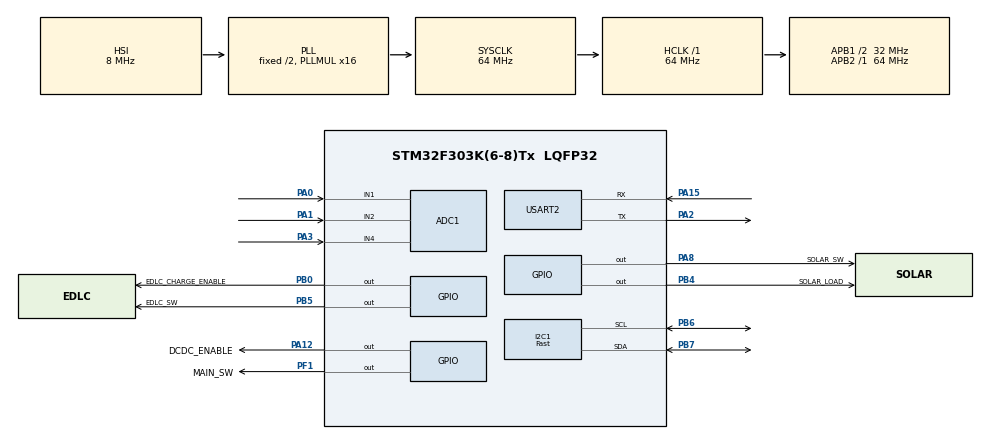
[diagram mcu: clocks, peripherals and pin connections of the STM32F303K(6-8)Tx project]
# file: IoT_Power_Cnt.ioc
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ADC1.Channel-0\#ChannelRegularConversion=ADC_CHANNEL_1
ADC1.Channel-1\#ChannelRegularConversion=ADC_CHANNEL_2
ADC1.Channel-2\#ChannelRegularConversion=ADC_CHANNEL_4
ADC1.ClockPrescaler=ADC_CLOCK_ASYNC_DIV1
ADC1.ContinuousConvMode=ENABLE
ADC1.DMAContinuousRequests=ENABLE
ADC1.EnableInjectedConversion=DISABLE
ADC1.NbrOfConversion=3
ADC1.NbrOfConversionFlag=1
ADC1.Offset-0\#ChannelRegularConversion=0
ADC1.Offset-1\#ChannelRegularConversion=0
ADC1.Offset-2\#ChannelRegularConversion=0
ADC1.OffsetNumber-0\#ChannelRegularConversion=ADC_OFFSET_NONE
ADC1.OffsetNumber-1\#ChannelRegularConversion=ADC_OFFSET_NONE
ADC1.OffsetNumber-2\#ChannelRegularConversion=ADC_OFFSET_NONE
ADC1.Rank-0\#ChannelRegularConversion=1
ADC1.Rank-1\#ChannelRegularConversion=2
ADC1.Rank-2\#ChannelRegularConversion=3
ADC1.SamplingTime-0\#ChannelRegularConversion=ADC_SAMPLETIME_601CYCLES_5
ADC1.SamplingTime-1\#ChannelRegularConversion=ADC_SAMPLETIME_601CYCLES_5
ADC1.SamplingTime-2\#ChannelRegularConversion=ADC_SAMPLETIME_601CYCLES_5
ADC1.SamplingTimeOPAMP-1\#ChannelRegularConversion=ADC_SAMPLETIME_61CYCLES_5
ADC1.SamplingTimeOPAMP-2\#ChannelRegularConversion=ADC_SAMPLETIME_61CYCLES_5
ADC1.SubFamily=STM32F303x8
ADC1.master=1
Dma.ADC1.0.Direction=DMA_PERIPH_TO_MEMORY
Dma.ADC1.0.Instance=DMA1_Channel1
Dma.ADC1.0.MemDataAlignment=DMA_MDATAALIGN_HALFWORD
Dma.ADC1.0.MemInc=DMA_MINC_ENABLE
Dma.ADC1.0.Mode=DMA_CIRCULAR
Dma.ADC1.0.PeriphDataAlignment=DMA_PDATAALIGN_HALFWORD
Dma.ADC1.0.PeriphInc=DMA_PINC_DISABLE
Dma.ADC1.0.Priority=DMA_PRIORITY_LOW
Dma.Request0=ADC1
I2C1.I2C_Speed_Mode=I2C_Fast
I2C1.Timing=0x00602173
Mcu.Family=STM32F3
Mcu.Name=STM32F303K(6-8)Tx
Mcu.Package=LQFP32
NVIC.DMA1_Channel1_IRQn=true\:0\:0\:false\:false\:true\:false\:true\:true
NVIC.PriorityGroup=NVIC_PRIORITYGROUP_4
NVIC.USART2_IRQn=true\:0\:0\:false\:false\:true\:true\:true\:true
PA0.Mode=IN1-Single-Ended
PA0.Signal=ADC1_IN1
PA1.Mode=IN2-Single-Ended
PA1.Signal=ADC1_IN2
PA12.GPIO_Label=DCDC_ENABLE
PA12.Signal=GPIO_Output
PA13.GPIO_Label=SWDIO
PA13.Mode=Serial_Wire
PA13.Signal=SYS_JTMS-SWDIO
PA14.GPIO_Label=SWCLK
PA14.Mode=Serial_Wire
PA14.Signal=SYS_JTCK-SWCLK
PA15.GPIO_ModeDefaultPP=GPIO_MODE_AF_PP
PA15.GPIO_PuPd=GPIO_NOPULL
PA15.GPIO_Speed=GPIO_SPEED_FREQ_HIGH
PA15.Mode=Asynchronous
PA15.Signal=USART2_RX
PA2.GPIO_ModeDefaultPP=GPIO_MODE_AF_PP
PA2.GPIO_PuPd=GPIO_NOPULL
PA2.GPIO_Speed=GPIO_SPEED_FREQ_HIGH
PA2.Mode=Asynchronous
PA2.Signal=USART2_TX
PA3.Mode=IN4-Single-Ended
PA3.Signal=ADC1_IN4
PA8.GPIO_Label=SOLAR_SW
PA8.Signal=GPIO_Output
PB0.GPIO_Label=EDLC_CHARGE_ENABLE
PB0.Signal=GPIO_Output
PB4.GPIO_Label=SOLAR_LOAD
PB4.Signal=GPIO_Output
PB5.GPIO_Label=EDLC_SW
PB5.Signal=GPIO_Output
PB6.GPIO_Pu=GPIO_PULLUP
PB6.Mode=I2C
PB6.Signal=I2C1_SCL
PB7.GPIO_Pu=GPIO_PULLUP
PB7.Mode=I2C
PB7.Signal=I2C1_SDA
PF0\ /\ OSC_IN.GPIO_Label=MCO
PF0\ /\ OSC_IN.Mode=HSE-External-Clock-Source
PF0\ /\ OSC_IN.Signal=RCC_OSC_IN
PF1\ /\ OSC_OUT.GPIO_Label=MAIN_SW
PF1\ /\ OSC_OUT.Signal=GPIO_Output
ProjectManager.HeapSize=0x200
ProjectManager.StackSize=0x400
ProjectManager.TargetToolchain=STM32CubeIDE
RCC.AHBFreq_Value=64000000
RCC.APB1CLKDivider=RCC_HCLK_DIV2
RCC.APB1Freq_Value=32000000
RCC.APB1TimFreq_Value=64000000
RCC.APB2Freq_Value=64000000
RCC.APB2TimFreq_Value=64000000
RCC.CortexFreq_Value=64000000
RCC.HCLKFreq_Value=64000000
RCC.HSE_VALUE=8000000
RCC.HSI_VALUE=8000000
RCC.I2c1ClockSelection=RCC_I2C1CLKSOURCE_SYSCLK
RCC.PLLMUL=RCC_PLL_MUL16
RCC.SYSCLKFreq_VALUE=64000000
RCC.SYSCLKSourceVirtual=RCC_SYSCLKSOURCE_PLLCLK
RTC.AsynchPrediv=40-1
RTC.Date=4
RTC.Hours=10
RTC.Month=RTC_MONTH_NOVEMBER
RTC.SynchPrediv=1000-1
RTC.WeekDay=RTC_WEEKDAY_SATURDAY
RTC.Year=23
USART2.VirtualMode-Asynchronous=VM_ASYNC
VP_RTC_VS_RTC_Activate.Mode=RTC_Enabled
VP_RTC_VS_RTC_Calendar.Mode=RTC_Calendar
board=NUCLEO-F303K8

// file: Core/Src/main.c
/* USER CODE BEGIN Header */
/**
  ******************************************************************************
  * @file           : main.c
  * @brief          : Main program body
  ******************************************************************************
  * @attention
  *
  * Copyright (c) 2023 STMicroelectronics.
  * All rights reserved.
  *
  * This software is licensed under terms that can be found in the LICENSE file
  * in the root directory of this software component.
  * If no LICENSE file comes with this software, it is provided AS-IS.
  *
  ******************************************************************************
  */
/* USER CODE END Header */
#include "main.h"

ADC_HandleTypeDef hadc1;
DMA_HandleTypeDef hdma_adc1;

I2C_HandleTypeDef hi2c1;

RTC_HandleTypeDef hrtc;

UART_HandleTypeDef huart2;

void SystemClock_Config(void);
static void MX_GPIO_Init(void);
static void MX_DMA_Init(void);
static void MX_ADC1_Init(void);
static void MX_I2C1_Init(void);
static void MX_USART2_UART_Init(void);
static void MX_RTC_Init(void);
/* USER CODE BEGIN PFP */
void app_oled_view_init(void);

/* USER CODE END PFP */

/* USER CODE BEGIN 0 */
uint16_t dacData;
/* USER CODE END 0 */

int main(void)
{
  /* USER CODE BEGIN 1 */
	float buf;
	float adc_main,adc_edlc,adc_solar;
	uint8_t edlc;
  /* USER CODE END 1 */

  /* MCU Configuration--------------------------------------------------------*/

  /* Reset of all peripherals, Initializes the Flash interface and the Systick. */
  HAL_Init();

  /* Configure the system clock */
  SystemClock_Config();

  /* Initialize all configured peripherals */
  MX_GPIO_Init();
  MX_DMA_Init();
  MX_ADC1_Init();
  MX_I2C1_Init();
  MX_USART2_UART_Init();
  MX_RTC_Init();
  /* USER CODE BEGIN 2 */
  app_oled_view_init();
  drv_cmd_if_set_Uart(&huart2);
///  HAL_DAC_Start(&hdac1,DAC_CHANNEL_1);
//  HAL_DAC_SetValue(&hdac1,DAC_CHANNEL_1,DAC_ALIGN_12B_L,dacData);
  dacData = 0x03FF;
  /* USER CODE END 2 */

  /* Infinite loop */
  /* USER CODE BEGIN WHILE */
  while (1)
  {
	  adc_edlc = drv_Power_get_solarVolt();
	  edlc = (uint8_t)((((adc_edlc - 1.0) + 0.1) / 1.7) * 100.0);
	  drv_oled_ssd1306_set_edlc_param(adc_edlc);
	  drv_oled_ssd1306_set_batt_param(edlc);
	  if(adc_edlc > 2.0)
	  {
		  drv_Power_set_edlc_dcdc(ENABLE);
	  }
	  else if(adc_edlc < 1.0)
	  {
		  drv_Power_set_edlc_dcdc(DISABLE);
	  }
	  adc_solar = drv_Power_get_solarVolt();
	  drv_oled_ssd1306_set_solar_param(adc_solar);
	  if(adc_solar > 1.6)
	  {
		  // EDLC Charge Start
		  HAL_GPIO_WritePin(EDLC_SW_GPIO_Port, EDLC_SW_Pin, GPIO_PIN_SET);
	  }
	  else
	  {
		  // EDLC Charge Stop
		  HAL_GPIO_WritePin(EDLC_SW_GPIO_Port, EDLC_SW_Pin, GPIO_PIN_RESET);
	  }

	  if(buf > 4.0)
	  {
		  // ソーラーからの給電開
	//	  HAL_GPIO_WritePin(SOLAR_SW_GPIO_Port,SOLAR_SW_Pin,GPIO_PIN_SET);
	  }
	  else
	  {
		  // ソーラーからの給電停止
	//	  HAL_GPIO_WritePin(SOLAR_SW_GPIO_Port,SOLAR_SW_Pin,GPIO_PIN_RESET);
	  }
	  adc_main = drv_Power_get_mainVolt();
	  drv_oled_ssd1306_set_main_param(adc_main);
//	  HAL_DAC_SetValue(&hdac1,DAC_CHANNEL_1,DAC_ALIGN_12B_R,dacData);
	  HAL_Delay(1000);

    /* USER CODE END WHILE */

  }
}

void SystemClock_Config(void)
{
  RCC_OscInitTypeDef RCC_OscInitStruct = {0};
  RCC_ClkInitTypeDef RCC_ClkInitStruct = {0};
  RCC_PeriphCLKInitTypeDef PeriphClkInit = {0};

  /** Initializes the RCC Oscillators according to the specified parameters
  * in the RCC_OscInitTypeDef structure.
  */
  RCC_OscInitStruct.OscillatorType = RCC_OSCILLATORTYPE_HSI|RCC_OSCILLATORTYPE_LSI;
  RCC_OscInitStruct.HSIState = RCC_HSI_ON;
  RCC_OscInitStruct.HSICalibrationValue = RCC_HSICALIBRATION_DEFAULT;
  RCC_OscInitStruct.LSIState = RCC_LSI_ON;
  RCC_OscInitStruct.PLL.PLLState = RCC_PLL_ON;
  RCC_OscInitStruct.PLL.PLLSource = RCC_PLLSOURCE_HSI;
  RCC_OscInitStruct.PLL.PLLMUL = RCC_PLL_MUL16;
  if (HAL_RCC_OscConfig(&RCC_OscInitStruct) != HAL_OK)
  {
    Error_Handler();
  }

  /** Initializes the CPU, AHB and APB buses clocks
  */
  RCC_ClkInitStruct.ClockType = RCC_CLOCKTYPE_HCLK|RCC_CLOCKTYPE_SYSCLK
                              |RCC_CLOCKTYPE_PCLK1|RCC_CLOCKTYPE_PCLK2;
  RCC_ClkInitStruct.SYSCLKSource = RCC_SYSCLKSOURCE_PLLCLK;
  RCC_ClkInitStruct.AHBCLKDivider = RCC_SYSCLK_DIV1;
  RCC_ClkInitStruct.APB1CLKDivider = RCC_HCLK_DIV2;
  RCC_ClkInitStruct.APB2CLKDivider = RCC_HCLK_DIV1;

  if (HAL_RCC_ClockConfig(&RCC_ClkInitStruct, FLASH_LATENCY_2) != HAL_OK)
  {
    Error_Handler();
  }
  PeriphClkInit.PeriphClockSelection = RCC_PERIPHCLK_I2C1|RCC_PERIPHCLK_RTC
                              |RCC_PERIPHCLK_ADC12;
  PeriphClkInit.Adc12ClockSelection = RCC_ADC12PLLCLK_DIV1;
  PeriphClkInit.I2c1ClockSelection = RCC_I2C1CLKSOURCE_SYSCLK;
  PeriphClkInit.RTCClockSelection = RCC_RTCCLKSOURCE_LSI;
  if (HAL_RCCEx_PeriphCLKConfig(&PeriphClkInit) != HAL_OK)
  {
    Error_Handler();
  }
}

static void MX_ADC1_Init(void)
{

  ADC_MultiModeTypeDef multimode = {0};
  ADC_ChannelConfTypeDef sConfig = {0};

  /** Common config
  */
  hadc1.Instance = ADC1;
  hadc1.Init.ClockPrescaler = ADC_CLOCK_ASYNC_DIV1;
  hadc1.Init.Resolution = ADC_RESOLUTION_12B;
  hadc1.Init.ScanConvMode = ADC_SCAN_ENABLE;
  hadc1.Init.ContinuousConvMode = ENABLE;
  hadc1.Init.DiscontinuousConvMode = DISABLE;
  hadc1.Init.ExternalTrigConvEdge = ADC_EXTERNALTRIGCONVEDGE_NONE;
  hadc1.Init.ExternalTrigConv = ADC_SOFTWARE_START;
  hadc1.Init.DataAlign = ADC_DATAALIGN_RIGHT;
  hadc1.Init.NbrOfConversion = 3;
  hadc1.Init.DMAContinuousRequests = ENABLE;
  hadc1.Init.EOCSelection = ADC_EOC_SINGLE_CONV;
  hadc1.Init.LowPowerAutoWait = DISABLE;
  hadc1.Init.Overrun = ADC_OVR_DATA_OVERWRITTEN;
  if (HAL_ADC_Init(&hadc1) != HAL_OK)
  {
    Error_Handler();
  }

  /** Configure the ADC multi-mode
  */
  multimode.Mode = ADC_MODE_INDEPENDENT;
  if (HAL_ADCEx_MultiModeConfigChannel(&hadc1, &multimode) != HAL_OK)
  {
    Error_Handler();
  }

  /** Configure Regular Channel
  */
  sConfig.Channel = ADC_CHANNEL_1;
  sConfig.Rank = ADC_REGULAR_RANK_1;
  sConfig.SingleDiff = ADC_SINGLE_ENDED;
  sConfig.SamplingTime = ADC_SAMPLETIME_601CYCLES_5;
  sConfig.OffsetNumber = ADC_OFFSET_NONE;
  sConfig.Offset = 0;
  if (HAL_ADC_ConfigChannel(&hadc1, &sConfig) != HAL_OK)
  {
    Error_Handler();
  }

  /** Configure Regular Channel
  */
  sConfig.Channel = ADC_CHANNEL_2;
  sConfig.Rank = ADC_REGULAR_RANK_2;
  if (HAL_ADC_ConfigChannel(&hadc1, &sConfig) != HAL_OK)
  {
    Error_Handler();
  }

  /** Configure Regular Channel
  */
  sConfig.Channel = ADC_CHANNEL_4;
  sConfig.Rank = ADC_REGULAR_RANK_3;
  if (HAL_ADC_ConfigChannel(&hadc1, &sConfig) != HAL_OK)
  {
    Error_Handler();
  }
  /* USER CODE BEGIN ADC1_Init 2 */
  HAL_ADCEx_Calibration_Start(&hadc1, ADC_SINGLE_ENDED );

  /* USER CODE END ADC1_Init 2 */

}

static void MX_I2C1_Init(void)
{

  hi2c1.Instance = I2C1;
  hi2c1.Init.Timing = 0x00602173;
  hi2c1.Init.OwnAddress1 = 0;
  hi2c1.Init.AddressingMode = I2C_ADDRESSINGMODE_7BIT;
  hi2c1.Init.DualAddressMode = I2C_DUALADDRESS_DISABLE;
  hi2c1.Init.OwnAddress2 = 0;
  hi2c1.Init.OwnAddress2Masks = I2C_OA2_NOMASK;
  hi2c1.Init.GeneralCallMode = I2C_GENERALCALL_DISABLE;
  hi2c1.Init.NoStretchMode = I2C_NOSTRETCH_DISABLE;
  if (HAL_I2C_Init(&hi2c1) != HAL_OK)
  {
    Error_Handler();
  }

  /** Configure Analogue filter
  */
  if (HAL_I2CEx_ConfigAnalogFilter(&hi2c1, I2C_ANALOGFILTER_ENABLE) != HAL_OK)
  {
    Error_Handler();
  }

  /** Configure Digital filter
  */
  if (HAL_I2CEx_ConfigDigitalFilter(&hi2c1, 0) != HAL_OK)
  {
    Error_Handler();
  }

}

static void MX_RTC_Init(void)
{

  RTC_TimeTypeDef sTime = {0};
  RTC_DateTypeDef sDate = {0};

  /** Initialize RTC Only
  */
  hrtc.Instance = RTC;
  hrtc.Init.HourFormat = RTC_HOURFORMAT_24;
  hrtc.Init.AsynchPrediv = 40-1;
  hrtc.Init.SynchPrediv = 1000-1;
  hrtc.Init.OutPut = RTC_OUTPUT_DISABLE;
  hrtc.Init.OutPutPolarity = RTC_OUTPUT_POLARITY_HIGH;
  hrtc.Init.OutPutType = RTC_OUTPUT_TYPE_OPENDRAIN;
  if (HAL_RTC_Init(&hrtc) != HAL_OK)
  {
    Error_Handler();
  }

  /** Initialize RTC and set the Time and Date
  */
  sTime.Hours = 0x10;
  sTime.Minutes = 0x0;
  sTime.Seconds = 0x0;
  sTime.DayLightSaving = RTC_DAYLIGHTSAVING_NONE;
  sTime.StoreOperation = RTC_STOREOPERATION_RESET;
  if (HAL_RTC_SetTime(&hrtc, &sTime, RTC_FORMAT_BCD) != HAL_OK)
  {
    Error_Handler();
  }
  sDate.WeekDay = RTC_WEEKDAY_SATURDAY;
  sDate.Month = RTC_MONTH_NOVEMBER;
  sDate.Date = 0x4;
  sDate.Year = 0x23;

  if (HAL_RTC_SetDate(&hrtc, &sDate, RTC_FORMAT_BCD) != HAL_OK)
  {
    Error_Handler();
  }

}

static void MX_USART2_UART_Init(void)
{

  huart2.Instance = USART2;
  huart2.Init.BaudRate = 38400;
  huart2.Init.WordLength = UART_WORDLENGTH_8B;
  huart2.Init.StopBits = UART_STOPBITS_1;
  huart2.Init.Parity = UART_PARITY_NONE;
  huart2.Init.Mode = UART_MODE_TX_RX;
  huart2.Init.HwFlowCtl = UART_HWCONTROL_NONE;
  huart2.Init.OverSampling = UART_OVERSAMPLING_16;
  huart2.Init.OneBitSampling = UART_ONE_BIT_SAMPLE_DISABLE;
  huart2.AdvancedInit.AdvFeatureInit = UART_ADVFEATURE_NO_INIT;
  if (HAL_UART_Init(&huart2) != HAL_OK)
  {
    Error_Handler();
  }

}

static void MX_DMA_Init(void)
{

  /* DMA controller clock enable */
  __HAL_RCC_DMA1_CLK_ENABLE();

  /* DMA interrupt init */
  /* DMA1_Channel1_IRQn interrupt configuration */
  HAL_NVIC_SetPriority(DMA1_Channel1_IRQn, 0, 0);
  HAL_NVIC_EnableIRQ(DMA1_Channel1_IRQn);

}

static void MX_GPIO_Init(void)
{
  GPIO_InitTypeDef GPIO_InitStruct = {0};

  /* GPIO Ports Clock Enable */
  __HAL_RCC_GPIOF_CLK_ENABLE();
  __HAL_RCC_GPIOA_CLK_ENABLE();
  __HAL_RCC_GPIOB_CLK_ENABLE();

  /*Configure GPIO pin Output Level */
  HAL_GPIO_WritePin(MAIN_SW_GPIO_Port, MAIN_SW_Pin, GPIO_PIN_RESET);

  /*Configure GPIO pin Output Level */
  HAL_GPIO_WritePin(GPIOB, EDLC_CHARGE_ENABLE_Pin|SOLAR_LOAD_Pin|EDLC_SW_Pin, GPIO_PIN_RESET);

  /*Configure GPIO pin Output Level */
  HAL_GPIO_WritePin(GPIOA, SOLAR_SW_Pin|DCDC_ENABLE_Pin, GPIO_PIN_RESET);

  /*Configure GPIO pin : MAIN_SW_Pin */
  GPIO_InitStruct.Pin = MAIN_SW_Pin;
  GPIO_InitStruct.Mode = GPIO_MODE_OUTPUT_PP;
  GPIO_InitStruct.Pull = GPIO_NOPULL;
  GPIO_InitStruct.Speed = GPIO_SPEED_FREQ_LOW;
  HAL_GPIO_Init(MAIN_SW_GPIO_Port, &GPIO_InitStruct);

  /*Configure GPIO pins : EDLC_CHARGE_ENABLE_Pin SOLAR_LOAD_Pin EDLC_SW_Pin */
  GPIO_InitStruct.Pin = EDLC_CHARGE_ENABLE_Pin|SOLAR_LOAD_Pin|EDLC_SW_Pin;
  GPIO_InitStruct.Mode = GPIO_MODE_OUTPUT_PP;
  GPIO_InitStruct.Pull = GPIO_NOPULL;
  GPIO_InitStruct.Speed = GPIO_SPEED_FREQ_LOW;
  HAL_GPIO_Init(GPIOB, &GPIO_InitStruct);

  /*Configure GPIO pins : SOLAR_SW_Pin DCDC_ENABLE_Pin */
  GPIO_InitStruct.Pin = SOLAR_SW_Pin|DCDC_ENABLE_Pin;
  GPIO_InitStruct.Mode = GPIO_MODE_OUTPUT_PP;
  GPIO_InitStruct.Pull = GPIO_NOPULL;
  GPIO_InitStruct.Speed = GPIO_SPEED_FREQ_LOW;
  HAL_GPIO_Init(GPIOA, &GPIO_InitStruct);

}

/* USER CODE BEGIN 4 */
void app_oled_view_init(void)
{
	uint8_t strView_temp[] = {"Solar:-V"};
	uint8_t strView_humd[] = {"Main:-V"};
	uint8_t strView_press[] = {"EDLC:-V"};

	drv_oled_ssd1306_init(&hi2c1);
	drv_oled_ssd1306_clear();
	drv_oled_ssd1306_set_string(0,2,strView_temp,sizeof(strView_temp)-1);
	drv_oled_ssd1306_set_string(0,4,strView_humd,sizeof(strView_humd)-1);
	drv_oled_ssd1306_set_string(0,6,strView_press,sizeof(strView_press)-1);
	//drv_oled_ssd1306_set_ant_param(0);
	drv_oled_ssd1306_set_batt_param(0);

}

/* USER CODE END 4 */

void Error_Handler(void)
{
  __disable_irq();
  while (1)
  {
  }
}
